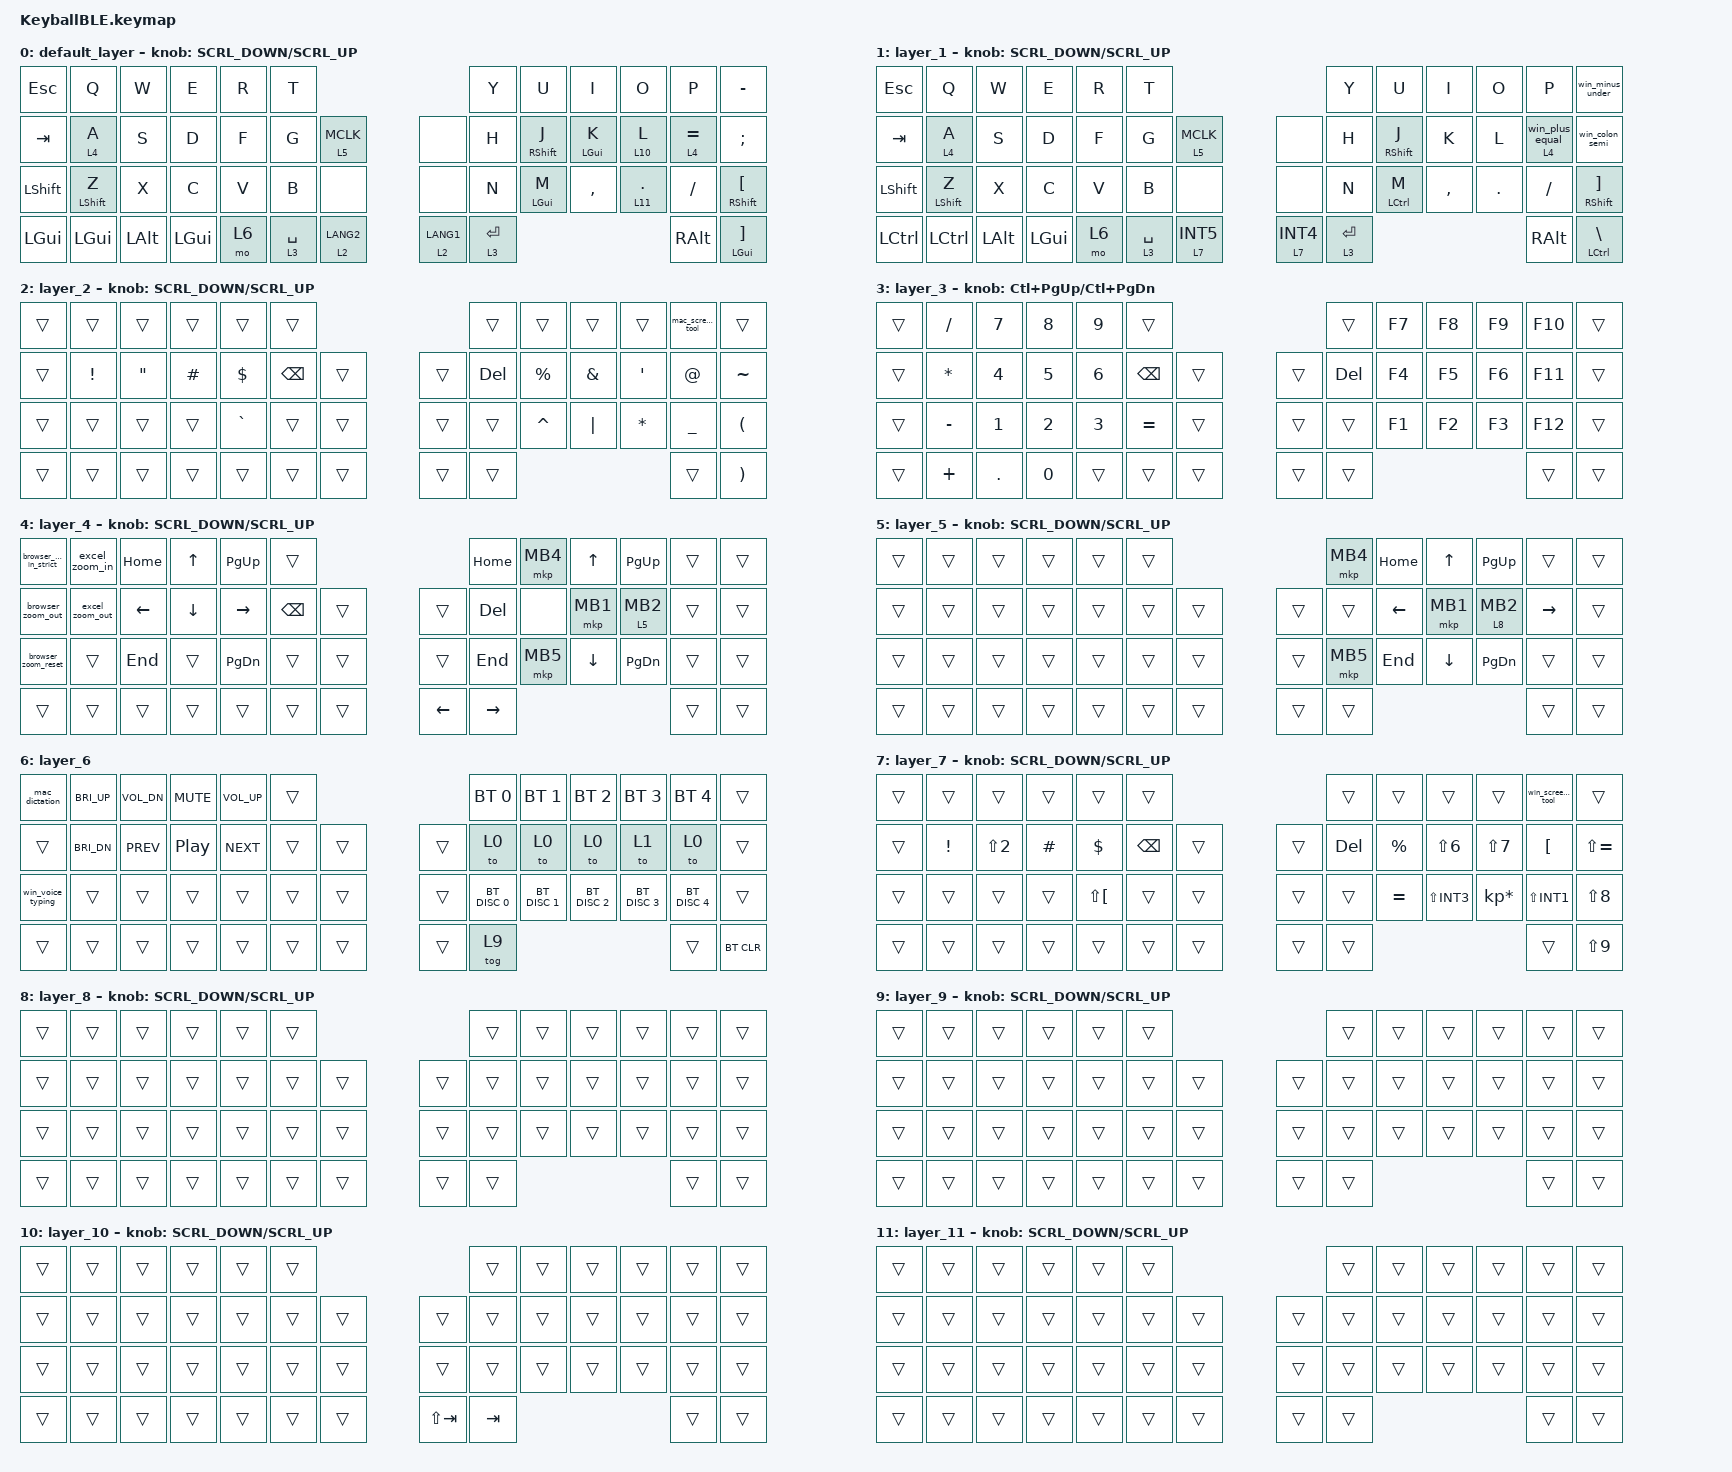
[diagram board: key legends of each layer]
#define ZMK_POINTING_DEFAULT_SCRL_VAL 120

#include <behaviors.dtsi>
#include <dt-bindings/zmk/bt.h>
#include <dt-bindings/zmk/keys.h>
#include <dt-bindings/zmk/pointing.h>

#define MOUSE 4
#define SCROLL 5
#define NUM 6

/ {
    zmk_pointing {
        compatible = "zmk,pointing";
        motion-acceleration = <0>;
        motion-speed = <1>;
    };
};

&mt {
    flavor = "balanced";
    tapping-term-ms = <350>;
    quick-tap-ms = <0>;
};

&lt {
    flavor = "balanced";
    tapping-term-ms = <350>;
    quick-tap-ms = <0>;
};

/ {
    combos {
        compatible = "zmk,combos";

        double_quotation {
            bindings = <&kp DOUBLE_QUOTES>;
            key-positions = <20 21>;
        };

        mb1_mb2_to_layer5 {
            bindings = <&mo 5>;
            key-positions = <22 23>;
            timeout-ms = <50>;
            slow-release;
            layers = <4>;
        };
    };

    macros {
        to_layer_0: to_layer_0 {
            compatible = "zmk,behavior-macro-one-param";
            #binding-cells = <1>;
            bindings = <&to 0 &macro_param_1to1 &kp MACRO_PLACEHOLDER>;
            label = "TO_LAYER_0";
        };

        browser_zoom_in_strict: browser_zoom_in_strict {
            compatible = "zmk,behavior-macro";
            #binding-cells = <0>;
            label = "BROWSER_ZOOM_IN_STRICT";
            bindings
                = <&macro_press &kp LCTRL>
                , <&macro_press &kp LSHFT>
                , <&macro_tap &kp EQUAL>
                , <&macro_release &kp LSHFT>
                , <&macro_release &kp LCTRL>
                ;
        };

        browser_zoom_out: browser_zoom_out {
            compatible = "zmk,behavior-macro";
            #binding-cells = <0>;
            label = "BROWSER_ZOOM_OUT";
            bindings
                = <&macro_press &kp LCTRL>
                , <&macro_tap &kp MINUS>
                , <&macro_release &kp LCTRL>
                ;
        };

        browser_zoom_reset: browser_zoom_reset {
            compatible = "zmk,behavior-macro";
            #binding-cells = <0>;
            label = "BROWSER_ZOOM_RESET";
            bindings
                = <&macro_press &kp LCTRL>
                , <&macro_tap &kp N0>
                , <&macro_release &kp LCTRL>
                ;
        };

        excel_zoom_in: excel_zoom_in {
            compatible = "zmk,behavior-macro";
            #binding-cells = <0>;
            label = "EXCEL_ZOOM_IN";
            bindings
                = <&macro_press &kp LCTRL>
                , <&macro_press &kp LALT>
                , <&macro_tap &kp EQUAL>
                , <&macro_release &kp LALT>
                , <&macro_release &kp LCTRL>
                ;
        };

        excel_zoom_out: excel_zoom_out {
            compatible = "zmk,behavior-macro";
            #binding-cells = <0>;
            label = "EXCEL_ZOOM_OUT";
            bindings
                = <&macro_press &kp LCTRL>
                , <&macro_press &kp LALT>
                , <&macro_tap &kp MINUS>
                , <&macro_release &kp LALT>
                , <&macro_release &kp LCTRL>
                ;
        };

        mac_screenshot_tool: mac_screenshot_tool {
            compatible = "zmk,behavior-macro";
            #binding-cells = <0>;
            label = "MAC_SCREENSHOT_TOOL";
            bindings
                = <&macro_press &kp LSHFT>
                , <&macro_press &kp LGUI>
                , <&macro_tap &kp N5>
                , <&macro_release &kp LGUI>
                , <&macro_release &kp LSHFT>
                ;
        };

        mac_dictation: mac_dictation {
            compatible = "zmk,behavior-macro";
            #binding-cells = <0>;
            label = "MAC_DICTATION";
            bindings
                = <&macro_press &kp LGUI>
                , <&macro_tap &kp F5>
                , <&macro_release &kp LGUI>
                ;
        };

        win_voice_typing: win_voice_typing {
            compatible = "zmk,behavior-macro";
            #binding-cells = <0>;
            label = "WIN_VOICE_TYPING";
            bindings
                = <&macro_press &kp LGUI>
                , <&macro_tap &kp H>
                , <&macro_release &kp LGUI>
                ;
        };

        win_screenshot_tool: win_screenshot_tool {
            compatible = "zmk,behavior-macro";
            #binding-cells = <0>;
            label = "WIN_SCREENSHOT_TOOL";
            bindings
                = <&macro_press &kp LGUI>
                , <&macro_press &kp LSHFT>
                , <&macro_tap &kp S>
                , <&macro_release &kp LSHFT>
                , <&macro_release &kp LGUI>
                ;
        };

                mac_mission_control: mac_mission_control {
            compatible = "zmk,behavior-macro";
            #binding-cells = <0>;
            label = "MAC_MISSION_CONTROL";
            bindings
                = <&macro_press &kp LCTRL>
                , <&macro_tap &kp UP_ARROW>
                , <&macro_release &kp LCTRL>
                ;
        };

        mac_app_expose: mac_app_expose {
            compatible = "zmk,behavior-macro";
            #binding-cells = <0>;
            label = "MAC_APP_EXPOSE";
            bindings
                = <&macro_press &kp LCTRL>
                , <&macro_tap &kp DOWN_ARROW>
                , <&macro_release &kp LCTRL>
                ;
        };

        mac_app_switcher_next: mac_app_switcher_next {
            compatible = "zmk,behavior-macro";
            #binding-cells = <0>;
            label = "MAC_APP_SWITCHER_NEXT";
            bindings
                = <&macro_press &kp LGUI>
                , <&macro_tap &kp TAB>
                , <&macro_release &kp LGUI>
                ;
        };

        mac_app_switcher_prev: mac_app_switcher_prev {
            compatible = "zmk,behavior-macro";
            #binding-cells = <0>;
            label = "MAC_APP_SWITCHER_PREV";
            bindings
                = <&macro_press &kp LSHFT>
                , <&macro_press &kp LGUI>
                , <&macro_tap &kp TAB>
                , <&macro_release &kp LGUI>
                , <&macro_release &kp LSHFT>
                ;
        };

        mac_space_left: mac_space_left {
            compatible = "zmk,behavior-macro";
            #binding-cells = <0>;
            label = "MAC_SPACE_LEFT";
            bindings
                = <&macro_press &kp LCTRL>
                , <&macro_tap &kp LEFT_ARROW>
                , <&macro_release &kp LCTRL>
                ;
        };

        mac_space_right: mac_space_right {
            compatible = "zmk,behavior-macro";
            #binding-cells = <0>;
            label = "MAC_SPACE_RIGHT";
            bindings
                = <&macro_press &kp LCTRL>
                , <&macro_tap &kp RIGHT_ARROW>
                , <&macro_release &kp LCTRL>
                ;
        };
    };

            behaviors {
        lt_to_layer_0: lt_to_layer_0 {
            compatible = "zmk,behavior-hold-tap";
            label = "LAYER_TAP_TO_0";
            #binding-cells = <2>;
            tapping-term-ms = <200>;
            quick-tap-ms = <0>;
            flavor = "balanced";
            bindings = <&mo>, <&to_layer_0>;
        };

        ROTATE: ROTATE {
            compatible = "zmk,behavior-sensor-rotate-var";
            label = "ROTATE";
            #sensor-binding-cells = <2>;
            bindings = <&msc>, <&msc>;
            tap-ms = <20>;
        };

        mclk_or_scroll: mclk_or_scroll {
            compatible = "zmk,behavior-hold-tap";
            label = "MCLK_OR_SCROLL";
            #binding-cells = <2>;
            flavor = "balanced";
            tapping-term-ms = <200>;
            quick-tap-ms = <0>;
            bindings = <&mo>, <&mkp>;
        };

        rc_or_mclk: rc_or_mclk {
            compatible = "zmk,behavior-hold-tap";
            label = "RC_OR_MCLK";
            #binding-cells = <2>;
            flavor = "balanced";
            tapping-term-ms = <200>;
            quick-tap-ms = <0>;
            bindings = <&mkp>, <&mkp>;
        };

        win_minus_under: win_minus_under {
            compatible = "zmk,behavior-mod-morph";
            label = "WIN_MINUS_UNDER";
            #binding-cells = <0>;
            bindings = <&kp MINUS>, <&kp LS(INT1)>;
            mods = <(MOD_LSFT|MOD_RSFT)>;
        };

        win_plus_equal: win_plus_equal {
            compatible = "zmk,behavior-mod-morph";
            label = "WIN_PLUS_EQUAL";
            #binding-cells = <0>;
            bindings = <&kp LS(SEMI)>, <&kp LS(MINUS)>;
            mods = <(MOD_LSFT|MOD_RSFT)>;
        };

        win_colon_semi: win_colon_semi {
            compatible = "zmk,behavior-mod-morph";
            label = "WIN_COLON_SEMI";
            #binding-cells = <0>;
            bindings = <&kp SQT>, <&kp SEMI>;
            mods = <(MOD_LSFT|MOD_RSFT)>;
        };

        win_layer4_plus_equal: win_layer4_plus_equal {
            compatible = "zmk,behavior-hold-tap";
            label = "WIN_L4_PLUS_EQUAL";
            #binding-cells = <2>;
            flavor = "balanced";
            tapping-term-ms = <280>;
            quick-tap-ms = <0>;
            bindings = <&mo>, <&win_plus_equal>;
        };
    };

    keymap {
        compatible = "zmk,keymap";

        default_layer {
            bindings = <
&kp ESC     &kp Q         &kp W     &kp E     &kp R  &kp T                                                   &kp Y        &kp U        &kp I        &kp O       &kp P        &kp MINUS
&kp TAB     &lt 4 A       &kp S     &kp D     &kp F  &kp G         &mclk_or_scroll 5 MCLK    &none           &kp H        &mt RSHFT J  &mt LGUI K   &lt 10 L    &lt 4 EQUAL  &kp SEMI
&kp LSHIFT  &mt LSHIFT Z  &kp X     &kp C     &kp V  &kp B         &none                     &none           &kp N        &mt LGUI M   &kp COMMA    &lt 11 DOT  &kp SLASH    &mt RSHFT LBKT
&kp LGUI    &kp LGUI      &kp LALT  &kp LGUI  &mo 6  &lt 3 SPACE   &lt 2 LANG2               &lt 2 LANG1     &lt 3 ENTER                                        &kp RALT     &mt LGUI RBKT
            >;

            sensor-bindings = <&ROTATE SCRL_DOWN SCRL_UP>;
        };

         layer_1 {
            bindings = <
&kp ESC     &kp Q         &kp W     &kp E     &kp R  &kp T                                                &kp Y        &kp U        &kp I      &kp O    &kp P                       &win_minus_under
&kp TAB     &lt 4 A       &kp S     &kp D     &kp F  &kp G         &mclk_or_scroll 5 MCLK   &none         &kp H        &mt RSHFT J  &kp K      &kp L    &win_layer4_plus_equal 4 0  &win_colon_semi
&kp LSHIFT  &mt LSHIFT Z  &kp X     &kp C     &kp V  &kp B         &none                    &none         &kp N        &mt LCTRL M  &kp COMMA  &kp DOT  &kp SLASH                   &mt RSHFT RBKT
&kp LCTRL   &kp LCTRL     &kp LALT  &kp LGUI  &mo 6  &lt 3 SPACE   &lt 7 INT5               &lt 7 INT4    &lt 3 ENTER                                   &kp RALT                    &mt LCTRL BSLH
            >;

            sensor-bindings = <&ROTATE SCRL_DOWN SCRL_UP>;
        };

        layer_2 {
            bindings = <
&trans  &trans    &trans   &trans    &trans     &trans                      &trans   &trans       &trans         &trans        &mac_screenshot_tool    &trans
&trans  &kp EXCL  &kp DQT  &kp HASH  &kp DLLR   &kp BSPC  &trans    &trans  &kp DEL  &kp PERCENT  &kp AMPERSAND  &kp SQT       &kp AT_SIGN             &kp TILDE
&trans  &trans    &trans   &trans    &kp GRAVE  &trans    &trans    &trans  &trans   &kp CARET    &kp PIPE       &kp ASTERISK  &kp UNDER               &kp LEFT_PARENTHESIS
&trans  &trans    &trans   &trans    &trans     &trans    &trans    &trans  &trans                                             &trans                  &kp RIGHT_PARENTHESIS
            >;

            sensor-bindings = <&ROTATE SCRL_DOWN SCRL_UP>;
        };

        layer_3 {
            bindings = <
&trans  &kp SLASH  &kp N7      &kp N8  &kp N9  &trans                       &trans   &kp F7  &kp F8  &kp F9  &kp F10  &trans
&trans  &kp ASTRK  &kp N4      &kp N5  &kp N6  &kp BSPC   &trans    &trans  &kp DEL  &kp F4  &kp F5  &kp F6  &kp F11  &trans
&trans  &kp MINUS  &kp N1      &kp N2  &kp N3  &kp EQUAL  &trans    &trans  &trans   &kp F1  &kp F2  &kp F3  &kp F12  &trans
&trans  &kp PLUS   &kp PERIOD  &kp N0  &trans  &trans     &trans    &trans  &trans                           &trans   &trans
            >;

            sensor-bindings = <&inc_dec_kp LC(PAGE_UP) LC(PAGE_DOWN)>;
        };

        layer_4 {
            bindings = <
&browser_zoom_in_strict  &excel_zoom_in   &kp HOME        &kp UP_ARROW    &kp PAGE_UP      &trans                              &kp HOME        &mkp MB4        &kp UP_ARROW    &kp PAGE_UP             &trans  &trans
&browser_zoom_out        &excel_zoom_out  &kp LEFT_ARROW  &kp DOWN_ARROW  &kp RIGHT_ARROW  &kp BSPC  &trans    &trans          &kp DEL         &none           &mkp MB1        &mclk_or_scroll 5 MB2  &trans  &trans
&browser_zoom_reset      &trans           &kp END         &trans          &kp PAGE_DOWN    &trans    &trans    &trans          &kp END         &mkp MB5        &kp DOWN_ARROW  &kp PAGE_DOWN           &trans  &trans
&trans                   &trans           &trans          &trans          &trans           &trans    &trans    &kp LEFT_ARROW  &kp RIGHT_ARROW                                                         &trans  &trans
            >;

            sensor-bindings = <&ROTATE SCRL_DOWN SCRL_UP>;
        };

        layer_5 {
            bindings = <
&trans  &trans  &trans  &trans  &trans  &trans                      &mkp MB4   &kp HOME         &kp UP_ARROW    &kp PAGE_UP            &trans           &trans
&trans  &trans  &trans  &trans  &trans  &trans  &trans    &trans    &trans     &kp LEFT_ARROW   &mkp MB1        &mclk_or_scroll 8 MB2  &kp RIGHT_ARROW  &trans
&trans  &trans  &trans  &trans  &trans  &trans  &trans    &trans    &mkp MB5   &kp END          &kp DOWN_ARROW  &kp PAGE_DOWN          &trans           &trans
&trans  &trans  &trans  &trans  &trans  &trans  &trans    &trans    &trans                                                             &trans           &trans
            >;

            sensor-bindings = <&ROTATE SCRL_DOWN SCRL_UP>;
        };

        layer_6 {
            bindings = <
&mac_dictation     &kp C_BRI_UP  &kp C_VOL_DN  &kp C_MUTE  &kp C_VOL_UP  &trans                    &bt BT_SEL 0   &bt BT_SEL 1   &bt BT_SEL 2   &bt BT_SEL 3   &bt BT_SEL 4   &trans
&trans             &kp C_BRI_DN  &kp C_PREV    &kp C_PP    &kp C_NEXT    &trans  &trans    &trans  &to 0          &to 0          &to 0          &to 1          &to 0          &trans
&win_voice_typing  &trans        &trans        &trans      &trans        &trans  &trans    &trans  &bt BT_DISC 0  &bt BT_DISC 1  &bt BT_DISC 2  &bt BT_DISC 3  &bt BT_DISC 4  &trans
&trans             &trans        &trans        &trans      &trans        &trans  &trans    &trans  &tog 9                                                      &trans         &bt BT_CLR
            >;
        };

        layer_7 {
            bindings = <
&trans  &trans      &trans      &trans    &trans       &trans                      &trans   &trans       &trans         &trans           &win_screenshot_tool  &trans
&trans  &kp EXCL    &kp LS(N2)  &kp HASH  &kp DLLR     &kp BSPC  &trans    &trans  &kp DEL  &kp PERCENT  &kp LS(N6)     &kp LS(N7)       &kp LBKT              &kp LS(EQUAL)
&trans  &trans      &trans      &trans    &kp LS(LBKT) &trans    &trans    &trans  &trans   &kp EQUAL    &kp LS(INT3)   &kp KP_MULTIPLY  &kp LS(INT1)          &kp LS(N8)
&trans  &trans      &trans      &trans    &trans       &trans    &trans    &trans  &trans                                                &trans                &kp LS(N9)
            >;

            sensor-bindings = <&ROTATE SCRL_DOWN SCRL_UP>;
        };

        layer_8 {
            bindings = <
&trans  &trans  &trans  &trans  &trans  &trans                    &trans  &trans  &trans  &trans  &trans  &trans
&trans  &trans  &trans  &trans  &trans  &trans  &trans    &trans  &trans  &trans  &trans  &trans  &trans  &trans
&trans  &trans  &trans  &trans  &trans  &trans  &trans    &trans  &trans  &trans  &trans  &trans  &trans  &trans
&trans  &trans  &trans  &trans  &trans  &trans  &trans    &trans  &trans                          &trans  &trans
            >;

            sensor-bindings = <&ROTATE SCRL_DOWN SCRL_UP>;
        };

        layer_9 {
            bindings = <
&trans  &trans  &trans  &trans  &trans  &trans                    &trans  &trans  &trans  &trans  &trans  &trans
&trans  &trans  &trans  &trans  &trans  &trans  &trans    &trans  &trans  &trans  &trans  &trans  &trans  &trans
&trans  &trans  &trans  &trans  &trans  &trans  &trans    &trans  &trans  &trans  &trans  &trans  &trans  &trans
&trans  &trans  &trans  &trans  &trans  &trans  &trans    &trans  &trans                          &trans  &trans
            >;

            sensor-bindings = <&ROTATE SCRL_DOWN SCRL_UP>;
        };

        layer_10 {
            bindings = <
&trans  &trans  &trans  &trans  &trans  &trans                             &trans        &trans  &trans  &trans  &trans  &trans
&trans  &trans  &trans  &trans  &trans  &trans  &trans    &trans           &trans        &trans  &trans  &trans  &trans  &trans
&trans  &trans  &trans  &trans  &trans  &trans  &trans    &trans           &trans        &trans  &trans  &trans  &trans  &trans
&trans  &trans  &trans  &trans  &trans  &trans  &trans    &kp LS(TAB)      &kp TAB                               &trans  &trans
            >;

            sensor-bindings = <&ROTATE SCRL_DOWN SCRL_UP>;
        };

        layer_11 {
            bindings = <
&trans  &trans  &trans  &trans  &trans  &trans                    &trans  &trans  &trans  &trans  &trans  &trans
&trans  &trans  &trans  &trans  &trans  &trans  &trans    &trans  &trans  &trans  &trans  &trans  &trans  &trans
&trans  &trans  &trans  &trans  &trans  &trans  &trans    &trans  &trans  &trans  &trans  &trans  &trans  &trans
&trans  &trans  &trans  &trans  &trans  &trans  &trans    &trans  &trans                          &trans  &trans
            >;

            sensor-bindings = <&ROTATE SCRL_DOWN SCRL_UP>;
        };
    };
};
